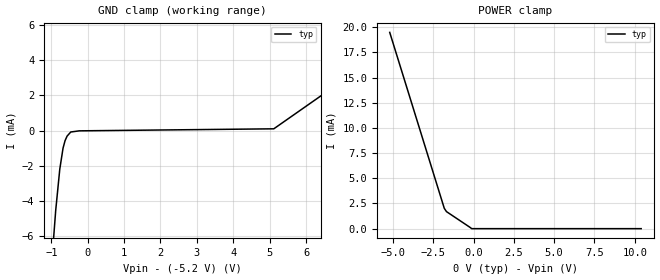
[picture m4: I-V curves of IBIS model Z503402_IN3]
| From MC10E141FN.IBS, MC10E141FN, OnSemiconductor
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| (C) COPYRIGHT 1993-2000
| MENTOR GRAPHICS CORPORATION
| ICX STANDARD LIBRARY, ICX PROJECT MODELING,
| ICX CUSTOM MODELING, ICX VENDOR MODEL
| ALL RIGHTS RESERVED.
| THE FOLLOWING ARE TRADEMARKS OR SERVICE MARKS OF
| MENTOR GRAPHICS CORPORATION:ICX (R), ICX STANDARD
| LIBRARY(R), ICX PROJECT MODELING(R), ICX CUSTOM
| MODELING(R), qualityIBIS(TM), MODELVIEWER(TM),
| AND MODELEDITOR(TM)
| ALL COPIES OF SOFTWARE, INCLUDING BUT NOT LIMITED TO
| ANY MODIFICATIONS, ENHANCEMENTS OR DERIVATIVE WORKS,
| MUST CONTAIN ALL MENTOR GRAPHICS CORPORATION'S
| NOTICES AND LEGENDS, INCLUDING THOSE EMBEDDED IN
| SOFTWARE AND THOSE AFFIXED TO SOFTWARE MEDIUM
| AND CONTAINER, AS RECEIVED FROM MENTOR GRAPHICS
| CORPORATION.
| Model Application Version 1.89 2/18/99.
[Model] Z503402_IN3
Model_type Input_ECL
Vinl = -1.480V
Vinh = -1.130V
C_comp 4.000pF NA NA
| variable typ   min   max
[Voltage Range] -5.200V NA NA
[GND Clamp Reference] -5.200V NA NA
[POWER Clamp Reference] 0.000V NA NA
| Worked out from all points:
|   GND clamp passes 1 mA (typ) near -0.68 V on its own axis
[GND Clamp]
-5.2V     -215.3mA   NA         NA
-1.24V    -16.59mA   NA         NA
-1.005V   -7.974mA   NA         NA
-879mV    -4.541mA   NA         NA
-767mV    -2.196mA   NA         NA
-677mV    -997.1uA   NA         NA
-622mV    -576.1uA   NA         NA
-566mV    -316.4uA   NA         NA
-465mV    -83.78uA   NA         NA
-232.5mV  -18.06uA   NA         NA
5.113V    97.49uA    NA         NA
10.4V     7.751mA    NA         NA
[POWER Clamp]
-5.2V     19.48mA    NA         NA
-1.816V   2.021mA    NA         NA
-1.68V    1.692mA    NA         NA
-224.4mV  135.1uA    NA         NA
-112.2mV  0A         NA         NA
10.4V     0A         NA         NA
